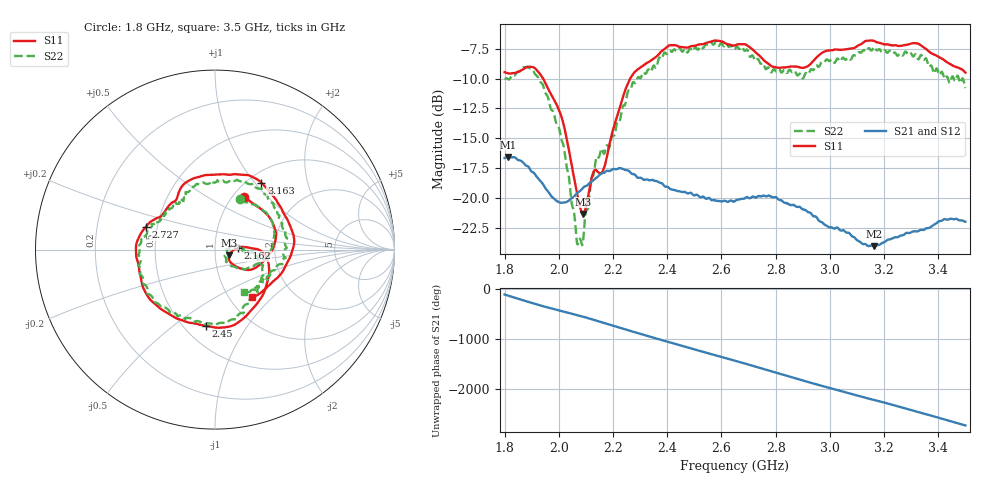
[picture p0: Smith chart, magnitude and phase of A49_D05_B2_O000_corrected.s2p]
! Created with skrf 1.9.0 (http://scikit-rf.org).
# Hz S RI R 50.0
!freq ReS11 ImS11 ReS21 ImS21 ReS12 ImS12 ReS22 ImS22
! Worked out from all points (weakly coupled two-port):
!   1601 points, 1.8 GHz to 3.5 GHz, reference 50 ohm
!   highest |S21| = -16.57 dB at 1.812 GHz (marker M1); lowest = -24.0 dB at 3.162 GHz (marker M2)
!   lowest |S11| = -21.3 dB at 2.09 GHz (marker M3), VSWR 1.19, Z = 58.5 - j3.79 ohm
!   |S11| at or under -10 dB: 1.942 GHz to 2.264 GHz (321.7 MHz wide, 15.3 % of centre)
!   |S22| runs from -23.9 to -6.9 dB; largest |S21 - S12| = 0.0023
!   S11 on the Smith chart (normalised r, x): 1.8 GHz: 1.13, +0.75; 2.162 GHz: 1.30, +0.02; 2.45 GHz: 0.64, -0.66; 2.727 GHz: 0.43, +0.13; 3.163 GHz: 1.15, +1.08; 3.5 GHz: 1.28, -0.75
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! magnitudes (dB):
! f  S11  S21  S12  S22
! 1.8 GHz  -9.5  -16.7  -16.7  -10.1
! 1.812 GHz  -9.6  -16.6  -16.6  -10.0
! 1.885 GHz  -9.0  -17.3  -17.4  -9.0
! 1.942 GHz  -10.0  -18.9  -18.9  -10.6
! 2.013 GHz  -13.4  -20.4  -20.4  -15.3
! 2.067 GHz  -19.5  -19.6  -19.6  -23.7
! 2.084 GHz  -21.1  -19.3  -19.3  -23.8
! 2.09 GHz  -21.3  -19.1  -19.2  -23.5
! 2.128 GHz  -17.8  -18.5  -18.5  -18.0
! 2.162 GHz  -17.7  -17.9  -17.8  -16.1
! 2.259 GHz  -10.2  -17.7  -17.7  -11.0
! 2.367 GHz  -8.0  -18.7  -18.6  -8.4
! 2.45 GHz  -7.4  -19.5  -19.5  -7.6
! 2.65 GHz  -7.2  -20.3  -20.2  -7.5
! 2.727 GHz  -7.8  -20.0  -20.0  -8.5
! 2.801 GHz  -9.1  -19.9  -19.9  -9.4
! 2.934 GHz  -8.7  -21.4  -21.4  -9.2
! 3.162 GHz  -6.8  -24.0  -24.0  -7.4
! 3.163 GHz  -6.9  -24.0  -24.0  -7.4
! 3.217 GHz  -7.2  -23.5  -23.4  -7.7
! 3.325 GHz  -7.1  -22.8  -22.7  -8.4
! 3.5 GHz  -9.5  -22.0  -22.0  -10.8
